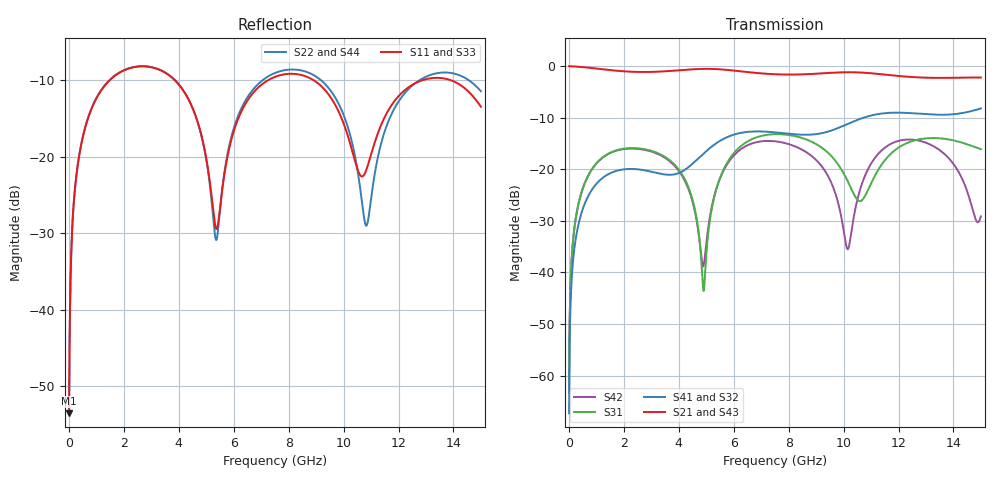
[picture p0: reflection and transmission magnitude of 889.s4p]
! Created with skrf 1.8.0 (http://scikit-rf.org).
# GHz S RI R 50.0
!freq ReS11 ImS11 ReS12 ImS12 ReS13 ImS13
! ReS14 ImS14
! ReS21 ImS21 ReS22 ImS22 ReS23 ImS23
! ReS24 ImS24
! ReS31 ImS31 ReS32 ImS32 ReS33 ImS33
! ReS34 ImS34
! ReS41 ImS41 ReS42 ImS42 ReS43 ImS43
! ReS44 ImS44
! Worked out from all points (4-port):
!   2499 points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, 5 MHz to 15 GHz, reference 50 ohm
!   strongest paths, dB at 5 MHz, 3.476 GHz, 7.19 GHz, 11.1 GHz, 15 GHz:
!     S21: 0.0, -1.0, -1.5, -1.4, -2.2
!     S43: 0.0, -1.0, -1.5, -1.4, -2.2
!     S41: -67.3, -21.0, -12.7, -9.5, -8.2
!     S32: -67.3, -21.0, -12.7, -9.4, -8.2
!     S31: -63.3, -17.5, -13.3, -21.7, -16.1
!     S42: -63.3, -17.7, -14.5, -18.1, -29.1
!   lowest |S11| = -53.6 dB at 5 MHz (marker M1), VSWR 1.00, Z = 50.2 + j0.127 ohm
!   |S11| at or under -10 dB: start of sweep to 1.471 GHz; 3.862 GHz to 7.235 GHz (3.373 GHz wide, 60.8 % of centre); 8.922 GHz to 12.85 GHz (3.925 GHz wide, 36.1 % of centre) (the widest 3 of 4)
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0.005  0.00167 0.00127  0.9983 -0.00325  8.46e-05 0.00068  -8.21e-05 -0.000424
       0.9983 -0.00325  0.00167 0.00127  -8.21e-05 -0.000424  8.46e-05 0.00068
       8.46e-05 0.00068  -8.21e-05 -0.000424  0.00167 0.00127  0.9983 -0.00325
       -8.21e-05 -0.000424  8.46e-05 0.00068  0.9983 -0.00325  0.00167 0.00127
0.3626511  0.0311 0.0947  0.957 -0.2324  0.0154 0.0457  -0.0126 -0.0279
           0.957 -0.2324  0.0312 0.0947  -0.0126 -0.0279  0.015 0.0458
           0.0154 0.0457  -0.0126 -0.0279  0.0311 0.0947  0.957 -0.2324
           -0.0126 -0.0279  0.015 0.0458  0.957 -0.2324  0.0312 0.0947
1.67  0.2967 0.1648  0.4853 -0.7639  0.1422 0.0511  -0.0953 0.00485
      0.4853 -0.7639  0.298 0.1637  -0.0952 0.00473  0.1388 0.0563
      0.1422 0.0511  -0.0952 0.00473  0.2968 0.1648  0.4852 -0.7639
      -0.0953 0.00485  0.1388 0.0563  0.4852 -0.7639  0.2981 0.1638
4.902043  0.0609 -0.1038  -0.8794 -0.3311  -0.0066 -0.000603  -0.0455 0.1348
          -0.8794 -0.3311  0.0553 -0.1053  -0.0469 0.1343  -0.0117 -0.000335
          -0.0066 -0.000603  -0.0469 0.1343  0.0601 -0.1055  -0.8792 -0.3312
          -0.0455 0.1348  -0.0117 -0.000335  -0.8792 -0.3312  0.0571 -0.106
8.347228  0.3455 -0.0295  0.00339 0.8295  0.1593 -0.1306  0.2046 -0.0728
          0.00339 0.8295  0.3668 -0.0545  0.2049 -0.0696  0.1565 -0.0407
          0.1593 -0.1306  0.2049 -0.0696  0.3464 -0.03  0.00456 0.8292
          0.2046 -0.0728  0.1565 -0.0407  0.00456 0.8292  0.3667 -0.0556
11.09837  0.0953 0.0705  0.8472 -0.0337  0.0145 0.081  -0.0339 -0.3348
          0.8472 -0.0337  0.0484 0.0513  -0.0272 -0.3358  0.0715 0.1017
          0.0145 0.081  -0.0272 -0.3358  0.0906 0.0687  0.8474 -0.0357
          -0.0339 -0.3348  0.0715 0.1017  0.8474 -0.0357  0.0526 0.0473
15  0.1992 -0.0754  -0.4586 -0.624  -0.1094 -0.112  -0.3085 0.236
    -0.4586 -0.624  0.2364 -0.1281  -0.3143 0.2279  -0.0349 0.00105
    -0.1094 -0.112  -0.3143 0.2279  0.1952 -0.0726  -0.4655 -0.6199
    -0.3085 0.236  -0.0349 0.00105  -0.4655 -0.6199  0.2301 -0.1307
